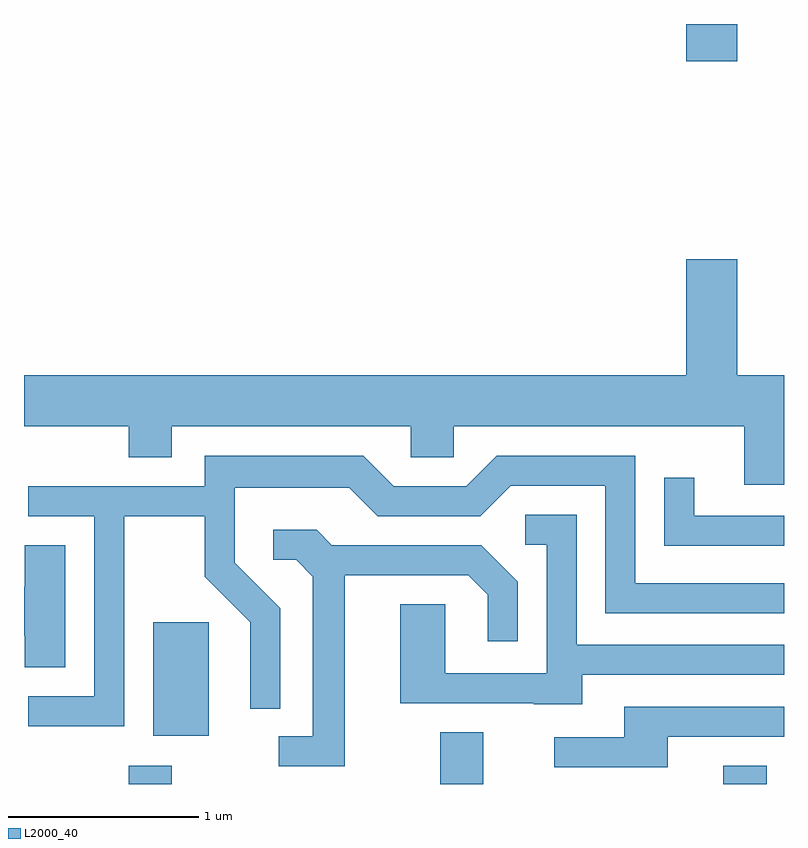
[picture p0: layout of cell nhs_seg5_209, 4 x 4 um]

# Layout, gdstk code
import gdstk
lib = gdstk.Library(unit=1e-6, precision=1e-09)
def R(c, l, rs):  # rectangles x0, y0, x1, y1
    for r in rs: c.add(gdstk.rectangle(r[:2], r[2:], *l))
def P(c, l, *ps):  # polygons
    for p in ps: c.add(gdstk.Polygon(p, *l))
L2000_40 = (2000, 40)

nhs_seg5_209 = lib.new_cell('nhs_seg5_209')
R(nhs_seg5_209, L2000_40, [(192.161,1406.072,192.389,1406.169), (193.801,1406.072,194.029,1406.344), (195.291,1406.072,195.519,1406.169), (192.291,1406.326,192.584,1406.924), (195.096,1409.876,195.364,1410.072)])
P(nhs_seg5_209, L2000_40, [(195.611,1408.224),(195.364,1408.224),(195.364,1408.834),(195.096,1408.834),(195.096,1408.224),(191.611,1408.224),(191.611,1407.956),(192.161,1407.956),(192.161,1407.791),(192.389,1407.791),(192.389,1407.956),(193.646,1407.956),(193.646,1407.791),(193.874,1407.791),(193.874,1407.956),(195.401,1407.956),(195.401,1407.646),(195.611,1407.646)],
  [(192.139,1407.481),(192.561,1407.481),(192.561,1407.164),(192.801,1406.924),(192.801,1406.468),(192.959,1406.468),(192.959,1406.997),(192.719,1407.237),(192.719,1407.631),(193.324,1407.631),(193.474,1407.481),(194.012,1407.481),(194.172,1407.641),(194.671,1407.641),(194.671,1406.971),(195.611,1406.971),(195.611,1407.129),(194.829,1407.129),(194.829,1407.799),(194.099,1407.799),(193.939,1407.639),(193.557,1407.639),(193.397,1407.799),(192.561,1407.799),(192.561,1407.639),(191.633,1407.639),(191.633,1407.481),(191.981,1407.481),(191.981,1406.534),(191.633,1406.534),(191.633,1406.376),(192.139,1406.376)],
  [(195.611,1407.484),(195.139,1407.484),(195.139,1407.683),(194.981,1407.683),(194.981,1407.326),(195.611,1407.326)],
  [(194.549,1406.646),(195.611,1406.646),(195.611,1406.804),(194.519,1406.804),(194.519,1407.489),(194.248,1407.489),(194.248,1407.331),(194.361,1407.331),(194.361,1406.654),(193.829,1406.654),(193.829,1407.019),(193.591,1407.019),(193.591,1406.496),(194.295,1406.496),(194.295,1406.491),(194.549,1406.491)],
  [(193.299,1407.171),(193.949,1407.171),(194.051,1407.069),(194.051,1406.823),(194.209,1406.823),(194.209,1407.137),(194.017,1407.329),(193.232,1407.329),(193.152,1407.409),(192.923,1407.409),(192.923,1407.251),(193.044,1407.251),(193.131,1407.164),(193.131,1406.324),(192.953,1406.324),(192.953,1406.166),(193.299,1406.166)],
  [(191.829,1407.329),(191.616,1407.329),(191.616,1407.109),(191.611,1407.109),(191.611,1406.851),(191.616,1406.851),(191.616,1406.686),(191.829,1406.686)],
  [(194.999,1406.321),(195.611,1406.321),(195.611,1406.479),(194.771,1406.479),(194.771,1406.319),(194.403,1406.319),(194.403,1406.161),(194.999,1406.161)])

lib.write_gds('nhs_seg5_209.gds')
